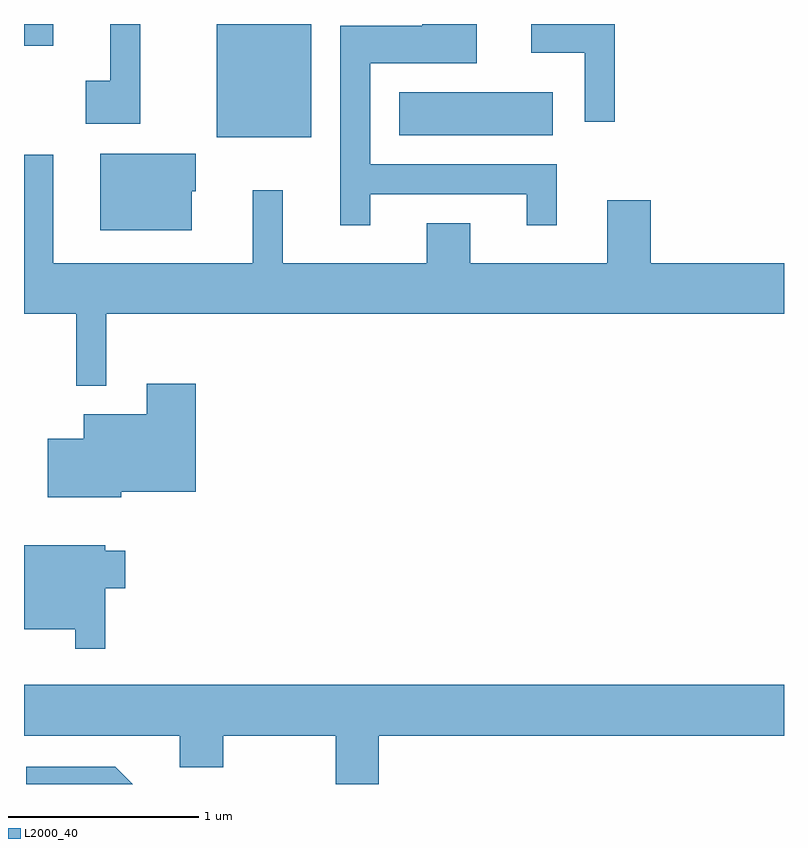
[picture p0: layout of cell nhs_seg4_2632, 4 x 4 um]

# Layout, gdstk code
import gdstk
lib = gdstk.Library(unit=1e-6, precision=1e-09)
def R(c, l, rs):  # rectangles x0, y0, x1, y1
    for r in rs: c.add(gdstk.rectangle(r[:2], r[2:], *l))
def P(c, l, *ps):  # polygons
    for p in ps: c.add(gdstk.Polygon(p, *l))
L2000_40 = (2000, 40)

nhs_seg4_2632 = lib.new_cell('nhs_seg4_2632')
R(nhs_seg4_2632, L2000_40, [(262.626,1353.386,263.124,1353.982), (263.586,1353.396,264.394,1353.624), (261.611,1353.868,261.764,1353.982)])
P(nhs_seg4_2632, L2000_40, [(262.224,1353.982),(262.066,1353.982),(262.066,1353.684),(261.936,1353.684),(261.936,1353.456),(262.224,1353.456)],
  [(263.434,1353.086),(264.256,1353.086),(264.256,1352.923),(264.414,1352.923),(264.414,1353.244),(263.434,1353.244),(263.434,1353.776),(263.994,1353.776),(263.994,1353.982),(263.706,1353.982),(263.706,1353.974),(263.276,1353.974),(263.276,1352.923),(263.434,1352.923)],
  [(264.719,1353.982),(264.281,1353.982),(264.281,1353.831),(264.561,1353.831),(264.561,1353.468),(264.719,1353.468)],
  [(262.494,1353.101),(262.514,1353.101),(262.514,1353.299),(262.011,1353.299),(262.011,1352.896),(262.494,1352.896)],
  [(262.044,1352.456),(265.611,1352.456),(265.611,1352.724),(264.909,1352.724),(264.909,1353.054),(264.681,1353.054),(264.681,1352.724),(263.959,1352.724),(263.959,1352.934),(263.731,1352.934),(263.731,1352.724),(262.974,1352.724),(262.974,1353.108),(262.816,1353.108),(262.816,1352.724),(261.764,1352.724),(261.764,1353.293),(261.611,1353.293),(261.611,1352.456),(261.886,1352.456),(261.886,1352.078),(262.044,1352.078)],
  [(262.124,1351.521),(262.514,1351.521),(262.514,1352.089),(262.256,1352.089),(262.256,1351.929),(261.926,1351.929),(261.926,1351.799),(261.736,1351.799),(261.736,1351.491),(262.124,1351.491)],
  [(262.039,1351.011),(262.144,1351.011),(262.144,1351.209),(262.039,1351.209),(262.039,1351.239),(261.611,1351.239),(261.611,1350.796),(261.881,1350.796),(261.881,1350.693),(262.039,1350.693)],
  [(263.479,1350.236),(265.611,1350.236),(265.611,1350.504),(261.611,1350.504),(261.611,1350.236),(262.431,1350.236),(262.431,1350.071),(262.659,1350.071),(262.659,1350.236),(263.251,1350.236),(263.251,1349.982),(263.479,1349.982)],
  [(262.092,1350.074),(261.623,1350.074),(261.623,1349.982),(262.184,1349.982)])

lib.write_gds('nhs_seg4_2632.gds')
